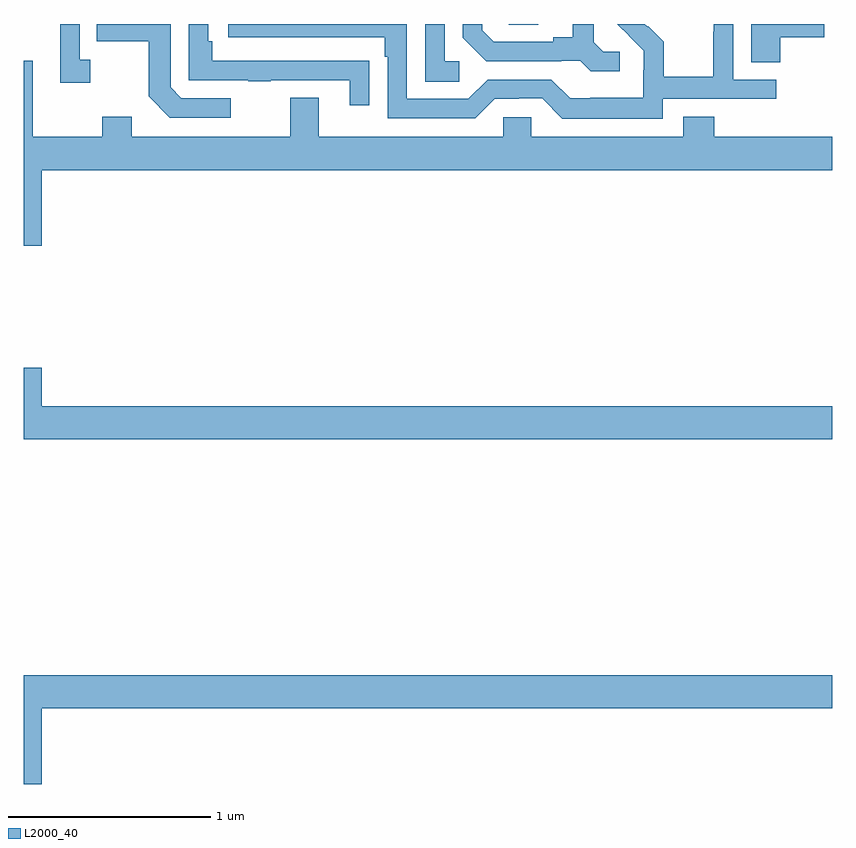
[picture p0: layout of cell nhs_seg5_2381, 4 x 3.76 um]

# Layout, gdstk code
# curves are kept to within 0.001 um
import gdstk
lib = gdstk.Library(unit=1e-6, precision=1e-09)
def R(c, l, rs):  # rectangles x0, y0, x1, y1
    for r in rs: c.add(gdstk.rectangle(r[:2], r[2:], *l))
def P(c, l, *ps):  # polygons
    for p in ps: c.add(gdstk.Polygon(p, *l))
L2000_40 = (2000, 40)

nhs_seg5_2381 = lib.new_cell('nhs_seg5_2381')
R(nhs_seg5_2381, L2000_40, [(251.4,874.795,251.545,874.799)])
P(nhs_seg5_2381, L2000_40, [(250.024,874.431),(249.78,874.431),(249.726,874.485),(249.726,874.799),(249.361,874.799),(249.361,874.714),(249.618,874.714),(249.618,874.441),(249.723,874.335),(250.024,874.335)],
  [(252.162,874.428),(252.724,874.428),(252.724,874.524),(252.51,874.524),(252.51,874.799),(252.414,874.799),(252.414,874.76),(252.412,874.76),(252.412,874.537),(252.167,874.537),(252.167,874.711),(252.09,874.788),(252.087,874.785),(252.073,874.799),(251.937,874.799),(252.068,874.666),(252.068,874.569),(252.066,874.569),(252.066,874.435),(251.803,874.435),(251.803,874.431),(251.703,874.431),(251.61,874.524),(251.295,874.524),(251.199,874.428),(250.896,874.428),(250.896,874.799),(250.011,874.799),(250.011,874.734),(250.787,874.734),(250.787,874.637),(250.8,874.637),(250.8,874.332),(251.235,874.332),(251.331,874.428),(251.45,874.428),(251.45,874.431),(251.565,874.431),(251.665,874.331),(252.162,874.331)],
  [(252.743,874.733),(252.961,874.733),(252.961,874.799),(252.599,874.799),(252.599,874.609),(252.743,874.609)],
  [(250.709,874.616),(250.607,874.616),(250.607,874.617),(249.932,874.617),(249.932,874.714),(249.912,874.714),(249.912,874.799),(249.816,874.799),(249.816,874.521),(250.111,874.521),(250.111,874.516),(250.223,874.516),(250.223,874.521),(250.613,874.521),(250.613,874.398),(250.709,874.398)],
  [(249.328,874.622),(249.276,874.622),(249.276,874.799),(249.179,874.799),(249.179,874.509),(249.328,874.509)],
  [(251.155,874.614),(251.082,874.614),(251.082,874.799),(250.986,874.799),(250.986,874.513),(251.155,874.513)],
  [(251.95,874.662),(251.868,874.662),(251.821,874.709),(251.821,874.799),(251.717,874.799),(251.717,874.733),(251.621,874.733),(251.621,874.71),(251.326,874.71),(251.269,874.767),(251.269,874.799),(251.172,874.799),(251.172,874.73),(251.288,874.614),(251.66,874.614),(251.66,874.617),(251.754,874.617),(251.806,874.565),(251.95,874.565)],
  [(249.088,874.076),(253,874.076),(253,874.24),(252.416,874.24),(252.416,874.339),(252.263,874.339),(252.263,874.24),(251.511,874.24),(251.511,874.338),(251.373,874.338),(251.373,874.24),(250.459,874.24),(250.459,874.435),(250.319,874.435),(250.319,874.24),(249.535,874.24),(249.535,874.339),(249.388,874.339),(249.388,874.24),(249.043,874.24),(249.043,874.618),(249,874.618),(249,873.702),(249.088,873.702)],
  [(253,872.908),(249.088,872.908),(249.088,873.097),(249,873.097),(249,872.744),(253,872.744)],
  [(249.088,871.412),(253,871.412),(253,871.576),(249,871.576),(249,871.038),(249.088,871.038)])

lib.write_gds('nhs_seg5_2381.gds')
